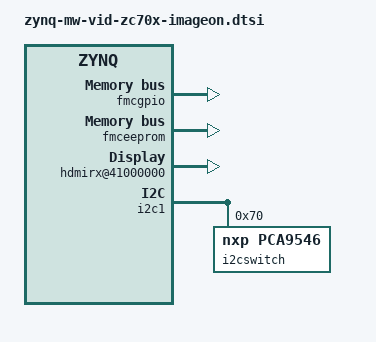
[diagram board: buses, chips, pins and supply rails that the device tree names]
/include/ "zynq-mw-vid-common.dtsi"
/{
    i2c_misc {
        compatible = "simple-bus";
		#address-cells = <0x1>;
		#size-cells = <0x0>;

        fmcgpio {
            compatible = "mathworks,mwgeneric-v1.00";       
            reg = <0x0>;    
            mwgen,type = "nomem";            
            mwgen,devname = "fmcgpio";            
            i2c-controller = <&fmcgpio_i2c>;
        };

        fmceeprom {
            compatible = "mathworks,mwgeneric-v1.00";
            reg = <0x1>;    
            mwgen,type = "nomem";            
	        mwgen,devname = "fmceeprom";        
            i2c-controller = <&fmc2_eeprom>;
            
        }; 
    };

	amba@0{   
		hdmirx@41000000 {
			compatible = "mathworks,mwgeneric-v1.00";
			reg = <0x41000000 0xffff>;
			mwgen,ipname = "adi,axi_hdmi_16b_es";
			mwgen,devname = "hdmirx";
			mwgen,ipinst = "axi_hdmi_16b_es_0";
			mwgen,ipver = "1.00.a";
            i2c-controller = <&hdmirx_i2c>;
		};
		
		vita@42020000 {
			compatible = "mathworks,mwgeneric-v1.00";
			reg = <0x42020000 0xffff>;
			mwgen,ipname = "avnet,fmc_imageon_vita_receiver";
			mwgen,devname = "vitarx";
			mwgen,ipinst = "vita_rx";
			mwgen,ipver = "1.12.a";
		};
		
		gpio@43020000 {
			compatible = "mathworks,mwgeneric-v1.00";
			reg = <0x43020000 0xffff>;
			mwgen,ipname = "xlnx,axi_gpio";
			mwgen,devname = "axigpio";
			mwgen,ipinst = "axi_gpio_0";
			mwgen,ipver = "1.12.a";
		};
		
		i2c1: i2c@e0005000 {
			compatible = "xlnx,ps7-i2c-1.00.a";
			reg = <0xE0005000 0x1000>;
			interrupts = <0 48 4>;
			interrupt-parent = <&gic>;
			bus-id = <1>;
			input-clk = <111111111>;
			i2c-clk = <100000>;

			#address-cells = <1>;
			#size-cells = <0>;
            
            i2cswitch@70 {
				compatible = "nxp,pca9546";
				#address-cells = <1>;
				#size-cells = <0>;
				reg = <0x70>;            
            
                fmci2c@1 {
					#address-cells = <1>;
					#size-cells = <0>;
					reg = <1>;
                    
                    fmcadv7511@39 {
						compatible = "adi,adv7511";
						reg = <0x39>;
					};
					
				};
				fmci2c@2 {
					#address-cells = <1>;
					#size-cells = <0>;
					reg = <2>;

					hdmirx_i2c: fmcadv7611@4C {
						compatible = "adi,adv7611";
						reg = <0x4C>;
					};

				};
                fmci2c@3 {
					#address-cells = <1>;
					#size-cells = <0>;
					reg = <3>;
					
                    fmcgpio_i2c: fmcgpio@20 {
						compatible = "nxp,xxxpca9534";
						reg = <0x20>;
					};
				};
            };
		};
	};
};
